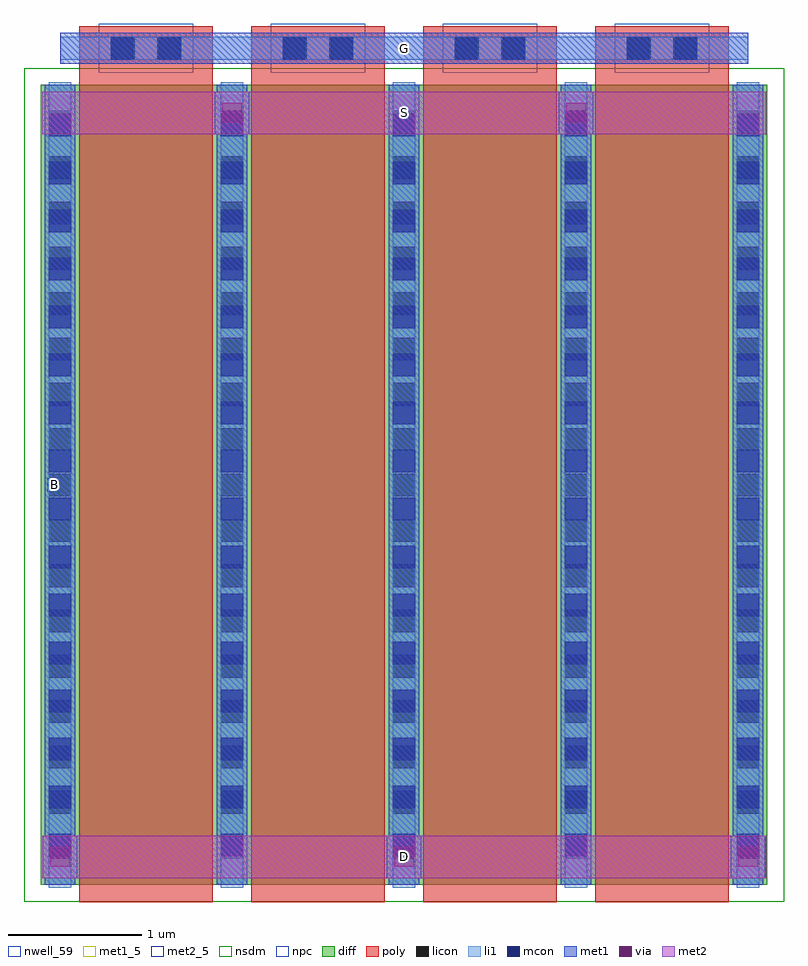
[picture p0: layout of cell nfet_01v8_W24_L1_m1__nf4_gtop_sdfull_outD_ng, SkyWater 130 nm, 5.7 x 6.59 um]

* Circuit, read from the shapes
.subckt nfet_01v8_W24_L1_m1__nf4_gtop_sdfull_outD_ng B D G S
XM1 S G D B sky130_fd_pr__nfet_01v8 w=6 l=1 m=4
.ends

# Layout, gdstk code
import gdstk
lib = gdstk.Library(unit=1e-6, precision=1e-09)
def R(c, l, rs):  # rectangles x0, y0, x1, y1
    for r in rs: c.add(gdstk.rectangle(r[:2], r[2:], *l))
def A(c, l, x, y, w, h, nx, ny, dx, dy):  # array of equal rectangles
    R(c, l, [(x+i*dx, y+j*dy, x+i*dx+w, y+j*dy+h) for i in range(nx) for j in range(ny)])
nwell_59 = (64, 59)
diff = (65, 20)
poly = (66, 20)
licon = (66, 44)
li1 = (67, 20)
mcon = (67, 44)
met1_5 = (68, 5)
met1 = (68, 20)
via = (68, 44)
met2_5 = (69, 5)
met2 = (69, 20)
nsdm = (93, 44)
npc = (95, 20)

sky130_fd_pr__nfet_01v8_ = lib.new_cell('sky130_fd_pr__nfet_01v8_CPWCFL')
R(sky130_fd_pr__nfet_01v8_, diff, [(-2.725,-3.155,2.725,2.845)])
A(sky130_fd_pr__nfet_01v8_, poly, -2.435, -3.285, 1, 6.57, 4, 1, 1.29, 0)
A(sky130_fd_pr__nfet_01v8_, licon, -2.665, -2.96, 0.17, 0.17, 5, 17, 1.29, 0.34)
R(sky130_fd_pr__nfet_01v8_, licon, [(-2.19,3.035,-2.02,3.205), (-1.85,3.035,-1.68,3.205), (-0.9,3.035,-0.73,3.205), (-0.56,3.035,-0.39,3.205), (0.39,3.035,0.56,3.205), (0.73,3.035,0.9,3.205), (1.68,3.035,1.85,3.205), (2.02,3.035,2.19,3.205)])
A(sky130_fd_pr__nfet_01v8_, li1, -2.665, -3.175, 0.17, 6.04, 5, 1, 1.29, 0)
R(sky130_fd_pr__nfet_01v8_, li1, [(-2.58,3.035,2.58,3.205)])
A(sky130_fd_pr__nfet_01v8_, mcon, -2.665, -2.94, 0.17, 0.17, 5, 16, 1.29, 0.36)
R(sky130_fd_pr__nfet_01v8_, mcon, [(-2.2,3.035,-2.03,3.205), (-1.84,3.035,-1.67,3.205), (-0.91,3.035,-0.74,3.205), (-0.55,3.035,-0.38,3.205), (0.38,3.035,0.55,3.205), (0.74,3.035,0.91,3.205), (1.67,3.035,1.84,3.205), (2.03,3.035,2.2,3.205)])
A(sky130_fd_pr__nfet_01v8_, met1, -2.695, -3.155, 0.23, 6, 5, 1, 1.29, 0)
A(sky130_fd_pr__nfet_01v8_, met1, -2.415, 3.005, 0.96, 0.03, 4, 2, 1.29, 0.2)
R(sky130_fd_pr__nfet_01v8_, met1, [(-2.58,3.035,2.58,3.205)])
R(sky130_fd_pr__nfet_01v8_, nsdm, [(-2.85,-3.28,2.85,2.97)])
A(sky130_fd_pr__nfet_01v8_, npc, -2.29, 2.935, 0.71, 0.37, 4, 1, 1.29, 0)
sky130_fd_pr__nfet_01v8_.add(gdstk.Label('D0', (-2.58,-0.155), layer=67, texttype=5))
sky130_fd_pr__nfet_01v8_.add(gdstk.Label('G', (1.935,3.12), layer=67, texttype=5))
sky130_fd_pr__nfet_01v8_.add(gdstk.Label('G', (0.645,3.12), layer=67, texttype=5))
sky130_fd_pr__nfet_01v8_.add(gdstk.Label('G', (-0.645,3.12), layer=67, texttype=5))
sky130_fd_pr__nfet_01v8_.add(gdstk.Label('G', (-1.935,3.12), layer=67, texttype=5))
sky130_fd_pr__nfet_01v8_.add(gdstk.Label('S1', (-1.29,-0.155), layer=67, texttype=5))
sky130_fd_pr__nfet_01v8_.add(gdstk.Label('D2', (0,-0.155), layer=67, texttype=5))
sky130_fd_pr__nfet_01v8_.add(gdstk.Label('S3', (1.29,-0.155), layer=67, texttype=5))

nfet_01v8_w24_l1_m1__nf4 = lib.new_cell('nfet_01v8_W24_L1_m1__nf4_gtop_sdfull_outD_ng')
R(nfet_01v8_w24_l1_m1__nf4, nwell_59, [(0.05,3.08,0.15,3.18)])
R(nfet_01v8_w24_l1_m1__nf4, met1_5, [(0.145,6.29,5.305,6.52)])
A(nfet_01v8_w24_l1_m1__nf4, met1, 0.015, 0.18, 0.26, 0.32, 3, 1, 2.58, 0)
R(nfet_01v8_w24_l1_m1__nf4, met1, [(1.305,5.76,1.565,6.08), (3.885,5.76,4.145,6.08), (0.145,6.29,5.305,6.52)])
A(nfet_01v8_w24_l1_m1__nf4, via, 0.07, 0.265, 0.15, 0.15, 3, 1, 2.58, 0)
R(nfet_01v8_w24_l1_m1__nf4, via, [(1.36,5.845,1.51,5.995), (3.94,5.845,4.09,5.995)])
R(nfet_01v8_w24_l1_m1__nf4, met2_5, [(0.01,0.18,5.44,0.5), (0.01,5.76,5.44,6.08)])
R(nfet_01v8_w24_l1_m1__nf4, met2, [(0.01,0.18,5.44,0.5), (0.01,5.76,5.44,6.08)])
nfet_01v8_w24_l1_m1__nf4.add(gdstk.Reference(sky130_fd_pr__nfet_01v8_, (2.725,3.285)))
nfet_01v8_w24_l1_m1__nf4.add(gdstk.Label('S', (2.725,5.92), layer=69, texttype=5))
nfet_01v8_w24_l1_m1__nf4.add(gdstk.Label('D', (2.725,0.34), layer=69, texttype=5))
nfet_01v8_w24_l1_m1__nf4.add(gdstk.Label('G', (2.725,6.405), layer=68, texttype=5))
nfet_01v8_w24_l1_m1__nf4.add(gdstk.Label('B', (0.1,3.13), layer=64, texttype=59))

lib.write_gds('nfet_01v8_W24_L1_m1__nf4_gtop_sdfull_outD_ng.gds')
